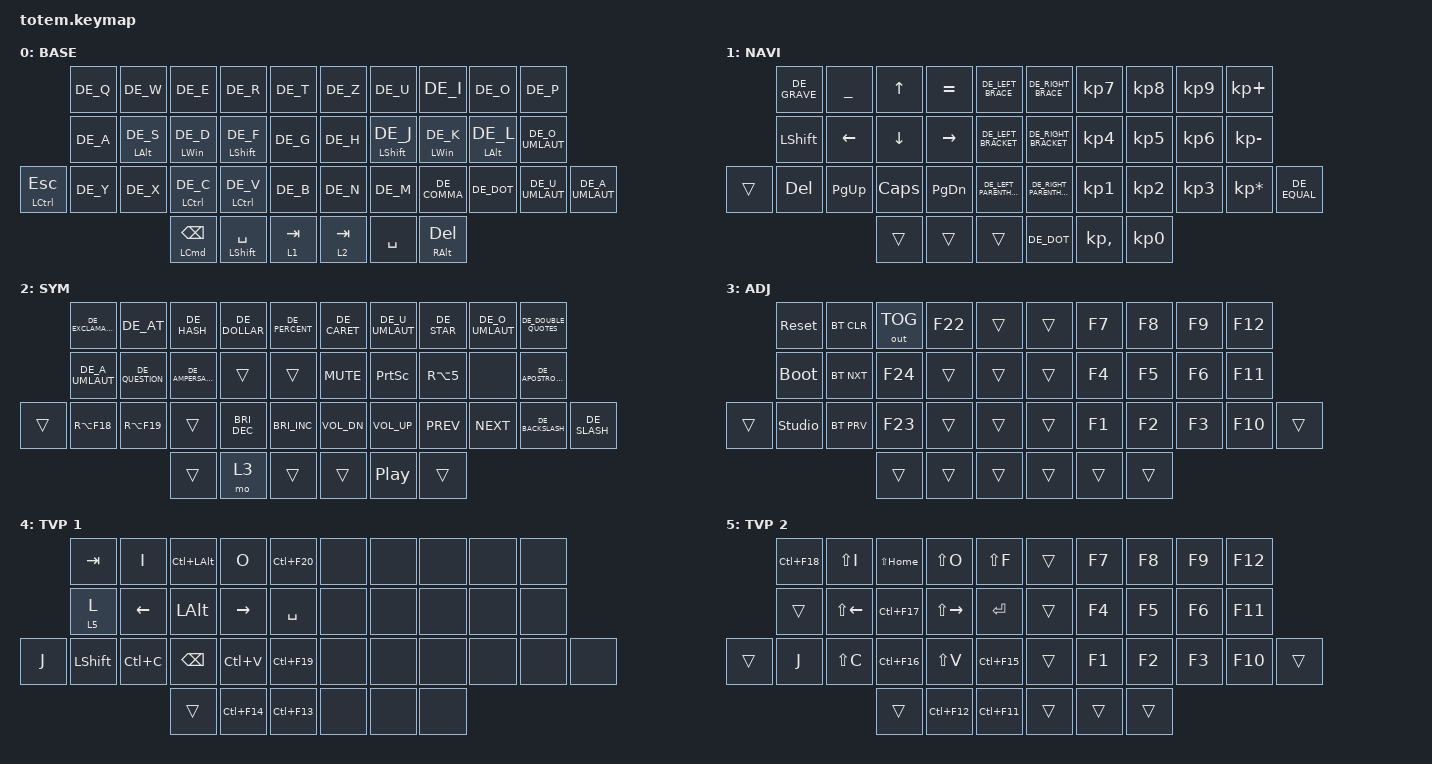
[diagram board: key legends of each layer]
//
//                                                        ▀▀▀▀▀     ▀▀▀▀▀          ▀▀█▀▀
//                                                        ▄▀▀▀▄  ▄  ▄▀▀▀▄  ▄  ▄▀▀▀▄  █  ▄▀▀▀▄
//                                                        █   █  █  █   █  █  █   █  █  █   █
//                                                         ▀▀▀   █   ▀▀▀   █   ▀▀▀   ▀   ▀▀▀
//                                                               █      ▄▄▄█▄▄▄    █   █  
//                                                               ▀      █  █  █     █▄█
//                                                             ▀▀▀▀▀    █  █  █      ▀
//                                                                      ▀  ▀  ▀
//
// ▄▄▄▄▄▄▄▄▄▄▄▄▄▄▄▄▄▄▄▄▄▄▄▄▄▄▄▄▄▄▄▄▄▄▄▄▄▄▄▄▄▄▄▄▄▄▄▄▄▄▄▄▄▄▄▄▄▄▄▄▄▄▄▄▄▄▄▄▄▄▄▄▄▄▄▄▄▄▄▄▄▄▄▄▄▄▄▄▄▄▄▄▄▄▄▄▄▄▄▄▄▄▄▄▄▄▄▄▄▄▄▄▄▄▄▄▄▄▄▄▄▄▄▄▄▄▄▄▄▄▄▄▄▄▄▄▄▄▄▄▄▄▄▄▄▄▄▄▄

#include "keys_de.h"
#include <behaviors.dtsi>
#include <dt-bindings/zmk/bt.h>
#include <dt-bindings/zmk/keys.h>
#include <dt-bindings/zmk/outputs.h>

#define BASE 0
#define NAV  1
#define SYM  2
#define ADJ  3
#define TVP1 4
#define TVP2 5

&mt {
    quick-tap-ms = <100>;
    global-quick-tap;
    flavor = "tap-preferred";
    tapping-term-ms = <170>;
};

/ {
    combos {
        compatible = "zmk,combos";

        combo_esc {
            timeout-ms = <50>;
            key-positions = <0 1>;
            bindings = <&kp ESC>;
        };

        combo_tvp {
            timeout-ms = <100>;
            key-positions = <11 12 13>;
            bindings = <&tog 4>;
        };

        Enter {
            bindings = <&kp ENTER>;
            key-positions = <16 17 18>;
        };

        TAB1 {
            bindings = <&kp TAB>;
            key-positions = <0 1>;
        };

        hyphen {
            bindings = <&kp MINUS>;
            key-positions = <30 31>;
        };

        tilde {
            bindings = <&kp TILDE>;
            key-positions = <20 0>;
        };
    };

    macros {
        gif: gif {
            label = "giphy";
            compatible = "zmk,behavior-macro";
            #binding-cells = <0>;
            bindings =
                <&macro_press>,
                <&kp LSHFT>,
                <&macro_tap>,
                <&kp N2>,
                <&macro_release>,
                <&kp LSHFT>,
                <&macro_tap>,
                <&kp G &kp I &kp F>;
        };
    };

    keymap {
        compatible = "zmk,keymap";

        // ▄▄▄▄▄▄▄▄▄▄▄▄▄▄▄▄▄▄▄▄▄▄▄▄▄▄▄▄▄▄▄▄▄▄▄▄▄▄▄▄▄▄▄▄▄▄▄▄▄▄▄▄▄▄▄▄▄▄▄▄▄▄▄▄▄▄▄▄▄▄▄▄▄▄▄▄▄▄▄▄▄▄▄▄▄▄▄▄▄▄▄▄▄▄▄▄▄▄▄▄▄▄▄▄▄▄▄▄▄▄▄▄▄▄▄▄▄▄▄▄▄▄▄▄▄▄▄▄▄▄▄▄▄▄▄▄▄▄▄▄▄▄▄▄▄▄▄▄▄

        base_layer {
            // ┏━━━━━━━━━━━━━━━━━━━━━━━━━━━━━━━━━━━━━━━┓

            label = "BASE";

            // ┗━━━━━━━━━━━━━━━━━━━━━━━━━━━━━━━━━━━━━━━┛
            //             ┏━━━━━━━━━━━┳━━━━━━━━━━━┳━━━━━━━━━━━┳━━━━━━━━━━━┳━━━━━━━━━━━┓   ┏━━━━━━━━━━━┳━━━━━━━━━━━┳━━━━━━━━━━━┳━━━━━━━━━━━┳━━━━━━━━━━━┓
            //             ┃     Q     ┃     W     ┃     F     ┃     P     ┃     G     ┃   ┃     J     ┃     L     ┃     U     ┃     Y     ┃     ;     ┃
            //             ┣━━━━━━━━━━━╋━━━━━━━━━━━╋━━━━━━━━━━━╋━━━━━━━━━━━╋━━━━━━━━━━━┫   ┣━━━━━━━━━━━╋━━━━━━━━━━━╋━━━━━━━━━━━╋━━━━━━━━━━━╋━━━━━━━━━━━┫
            //             ┃     A     ┃     R     ┃     S     ┃     T     ┃     D     ┃   ┃     H     ┃     N     ┃     E     ┃     I     ┃     O     ┃
            // ┏━━━━━━━━━━━╋━━━━━━━━━━━╋━━━━━━━━━━━╋━━━━━━━━━━━╋━━━━━━━━━━━╋━━━━━━━━━━━┫   ┣━━━━━━━━━━━╋━━━━━━━━━━━╋━━━━━━━━━━━╋━━━━━━━━━━━╋━━━━━━━━━━━╋━━━━━━━━━━━┓
            // ┃     Q     ┃     Z     ┃     X     ┃     C     ┃     V     ┃     B     ┃   ┃     K     ┃     M     ┃     ,     ┃     .     ┃     /     ┃     \     ┃
            // ┗━━━━━━━━━━━┻━━━━━━━━━━━┻━━━━━━━━━━━╋━━━━━━━━━━━╋━━━━━━━━━━━╋━━━━━━━━━━━┫   ┣━━━━━━━━━━━╋━━━━━━━━━━━╋━━━━━━━━━━━╋━━━━━━━━━━━┻━━━━━━━━━━━┻━━━━━━━━━━━┛
            //                                     ┃    DEL    ┃    TAB    ┃    SPC    ┃   ┃   ENTER   ┃           ┃   BSPC    ┃
            //                                     ┗━━━━━━━━━━━┻━━━━━━━━━━━┻━━━━━━━━━━━┛   ┗━━━━━━━━━━━┻━━━━━━━━━━━┻━━━━━━━━━━━┛

            bindings = <
                      &kp DE_Q  &kp DE_W       &kp DE_E                    &kp DE_R              &kp DE_T     &kp DE_Z   &kp DE_U        &kp DE_I              &kp DE_O       &kp DE_P
                      &kp DE_A  &mt LALT DE_S  &mt LWIN DE_D               &mt LSHFT DE_F        &kp DE_G     &kp DE_H   &mt LSHFT DE_J  &mt LWIN DE_K         &mt LALT DE_L  &kp DE_O_UMLAUT
&mt LEFT_CONTROL ESC  &kp DE_Y  &kp DE_X       &mt LCTRL DE_C              &mt LCTRL DE_V        &kp DE_B     &kp DE_N   &kp DE_M        &kp DE_COMMA          &kp DE_DOT     &kp DE_U_UMLAUT  &kp DE_A_UMLAUT
                                               &mt LEFT_COMMAND BACKSPACE  &mt LEFT_SHIFT SPACE  &lt 1 TAB    &lt 2 TAB  &kp SPACE       &mt RIGHT_ALT DELETE
            >;
        };

        // ▄▄▄▄▄▄▄▄▄▄▄▄▄▄▄▄▄▄▄▄▄▄▄▄▄▄▄▄▄▄▄▄▄▄▄▄▄▄▄▄▄▄▄▄▄▄▄▄▄▄▄▄▄▄▄▄▄▄▄▄▄▄▄▄▄▄▄▄▄▄▄▄▄▄▄▄▄▄▄▄▄▄▄▄▄▄▄▄▄▄▄▄▄▄▄▄▄▄▄▄▄▄▄▄▄▄▄▄▄▄▄▄▄▄▄▄▄▄▄▄▄▄▄▄▄▄▄▄▄▄▄▄▄▄▄▄▄▄▄▄▄▄▄▄▄▄▄▄▄

        nav_layer {
            // ┏━━━━━━━━━━━━━━━━━━━━━━━━━━━━━━━━━━━━━━━┓

            label = "NAVI";

            // ┗━━━━━━━━━━━━━━━━━━━━━━━━━━━━━━━━━━━━━━━┛
            //             ┏━━━━━━━━━━━┳━━━━━━━━━━━┳━━━━━━━━━━━┳━━━━━━━━━━━┳━━━━━━━━━━━┓   ┏━━━━━━━━━━━┳━━━━━━━━━━━┳━━━━━━━━━━━┳━━━━━━━━━━━┳━━━━━━━━━━━┓
            //             ┃           ┃           ┃     UP    ┃           ┃     {     ┃   ┃     }     ┃     7     ┃     8     ┃     9     ┃     +     ┃
            //             ┣━━━━━━━━━━━╋━━━━━━━━━━━╋━━━━━━━━━━━╋━━━━━━━━━━━╋━━━━━━━━━━━┫   ┣━━━━━━━━━━━╋━━━━━━━━━━━╋━━━━━━━━━━━╋━━━━━━━━━━━╋━━━━━━━━━━━┫
            //             ┃   SHIFT   ┃   LEFT    ┃    DOWN   ┃   RIGHT   ┃     [     ┃   ┃     ]     ┃     4     ┃     5     ┃     6     ┃     -     ┃
            // ┏━━━━━━━━━━━╋━━━━━━━━━━━╋━━━━━━━━━━━╋━━━━━━━━━━━╋━━━━━━━━━━━╋━━━━━━━━━━━┫   ┣━━━━━━━━━━━╋━━━━━━━━━━━╋━━━━━━━━━━━╋━━━━━━━━━━━╋━━━━━━━━━━━╋━━━━━━━━━━━┓
            // ┃           ┃           ┃   P UP    ┃  C LOCK   ┃  P DOWN   ┃     (     ┃   ┃     )     ┃     1     ┃     2     ┃     3     ┃     *     ┃           ┃
            // ┗━━━━━━━━━━━┻━━━━━━━━━━━┻━━━━━━━━━━━╋━━━━━━━━━━━╋━━━━━━━━━━━╋━━━━━━━━━━━┫   ┣━━━━━━━━━━━╋━━━━━━━━━━━╋━━━━━━━━━━━╋━━━━━━━━━━━┻━━━━━━━━━━━┻━━━━━━━━━━━┛
            //                                     ┃           ┃    TAB    ┃    SPC    ┃   ┃    DEL    ┃     0     ┃           ┃
            //                                     ┗━━━━━━━━━━━┻━━━━━━━━━━━┻━━━━━━━━━━━┛   ┗━━━━━━━━━━━┻━━━━━━━━━━━┻━━━━━━━━━━━┛

            bindings = <
        &kp DE_GRAVE  &kp UNDER  &kp UP    &kp EQUAL  &kp DE_LEFT_BRACE          &kp DE_RIGHT_BRACE        &kp KP_N7     &kp KP_N8        &kp KP_N9  &kp KP_PLUS
        &kp LSHFT     &kp LEFT   &kp DOWN  &kp RIGHT  &kp DE_LEFT_BRACKET        &kp DE_RIGHT_BRACKET      &kp KP_N4     &kp KP_N5        &kp KP_N6  &kp KP_MINUS
&trans  &kp DEL       &kp PG_UP  &kp CAPS  &kp PG_DN  &kp DE_LEFT_PARENTHESIS    &kp DE_RIGHT_PARENTHESIS  &kp KP_N1     &kp KP_N2        &kp KP_N3  &kp KP_MULTIPLY  &kp DE_EQUAL
                                 &trans    &trans     &trans                     &kp DE_DOT                &kp KP_COMMA  &kp KP_NUMBER_0
            >;
        };

        // ▄▄▄▄▄▄▄▄▄▄▄▄▄▄▄▄▄▄▄▄▄▄▄▄▄▄▄▄▄▄▄▄▄▄▄▄▄▄▄▄▄▄▄▄▄▄▄▄▄▄▄▄▄▄▄▄▄▄▄▄▄▄▄▄▄▄▄▄▄▄▄▄▄▄▄▄▄▄▄▄▄▄▄▄▄▄▄▄▄▄▄▄▄▄▄▄▄▄▄▄▄▄▄▄▄▄▄▄▄▄▄▄▄▄▄▄▄▄▄▄▄▄▄▄▄▄▄▄▄▄▄▄▄▄▄▄▄▄▄▄▄▄▄▄▄▄▄▄▄

        sim_layer {
            // ┏━━━━━━━━━━━━━━━━━━━━━━━━━━━━━━━━━━━━━━━┓

            label = "SYM";

            // ┗━━━━━━━━━━━━━━━━━━━━━━━━━━━━━━━━━━━━━━━┛
            //             ┏━━━━━━━━━━━┳━━━━━━━━━━━┳━━━━━━━━━━━┳━━━━━━━━━━━┳━━━━━━━━━━━┓   ┏━━━━━━━━━━━┳━━━━━━━━━━━┳━━━━━━━━━━━┳━━━━━━━━━━━┳━━━━━━━━━━━┓
            //             ┃     !     ┃     @     ┃     #     ┃     $     ┃     %     ┃   ┃     ˆ     ┃     &     ┃     Ü     ┃     '     ┃     "     ┃
            //             ┣━━━━━━━━━━━╋━━━━━━━━━━━╋━━━━━━━━━━━╋━━━━━━━━━━━╋━━━━━━━━━━━┫   ┣━━━━━━━━━━━╋━━━━━━━━━━━╋━━━━━━━━━━━╋━━━━━━━━━━━╋━━━━━━━━━━━┫
            //             ┃     Ä     ┃           ┃    SZ     ┃           ┃           ┃   ┃   MUTE    ┃   YEN     ┃   EURO    ┃  POUND    ┃     Ö     ┃
            // ┏━━━━━━━━━━━╋━━━━━━━━━━━╋━━━━━━━━━━━╋━━━━━━━━━━━╋━━━━━━━━━━━╋━━━━━━━━━━━┫   ┣━━━━━━━━━━━╋━━━━━━━━━━━╋━━━━━━━━━━━╋━━━━━━━━━━━╋━━━━━━━━━━━╋━━━━━━━━━━━┓
            // ┃           ┃  EMAIL1   ┃  EMAIL2   ┃           ┃           ┃           ┃   ┃   VOL-    ┃   VOL+    ┃   LAST    ┃   NEXT    ┃     \     ┃           ┃
            // ┗━━━━━━━━━━━┻━━━━━━━━━━━┻━━━━━━━━━━━╋━━━━━━━━━━━╋━━━━━━━━━━━╋━━━━━━━━━━━┫   ┣━━━━━━━━━━━╋━━━━━━━━━━━╋━━━━━━━━━━━╋━━━━━━━━━━━┻━━━━━━━━━━━┻━━━━━━━━━━━┛
            //                                     ┃           ┃    GIF    ┃    ADJ    ┃   ┃           ┃           ┃           ┃
            //                                     ┗━━━━━━━━━━━┻━━━━━━━━━━━┻━━━━━━━━━━━┛   ┗━━━━━━━━━━━┻━━━━━━━━━━━┻━━━━━━━━━━━┛

            bindings = <
        &kp DE_EXCLAMATION  &kp DE_AT        &kp DE_HASH       &kp DE_DOLLAR  &kp DE_PERCENT          &kp DE_CARET  &kp DE_U_UMLAUT  &kp DE_STAR  &kp DE_O_UMLAUT  &kp DE_DOUBLE_QUOTES
        &kp DE_A_UMLAUT     &kp DE_QUESTION  &kp DE_AMPERSAND  &trans         &trans                  &kp C_MUTE    &kp PRINTSCREEN  &kp RA(N5)   &none            &kp DE_APOSTROPHE
&trans  &kp RA(F18)         &kp RA(F19)      &trans            &kp C_BRI_DEC  &kp C_BRIGHTNESS_INC    &kp C_VOL_DN  &kp C_VOL_UP     &kp C_PREV   &kp C_NEXT       &kp DE_BACKSLASH      &kp DE_SLASH
                                             &trans            &mo 3          &trans                  &trans        &kp C_PP         &trans
            >;
        };

        // ▄▄▄▄▄▄▄▄▄▄▄▄▄▄▄▄▄▄▄▄▄▄▄▄▄▄▄▄▄▄▄▄▄▄▄▄▄▄▄▄▄▄▄▄▄▄▄▄▄▄▄▄▄▄▄▄▄▄▄▄▄▄▄▄▄▄▄▄▄▄▄▄▄▄▄▄▄▄▄▄▄▄▄▄▄▄▄▄▄▄▄▄▄▄▄▄▄▄▄▄▄▄▄▄▄▄▄▄▄▄▄▄▄▄▄▄▄▄▄▄▄▄▄▄▄▄▄▄▄▄▄▄▄▄▄▄▄▄▄▄▄▄▄▄▄▄▄▄▄

        adjust_layer {
            // ┏━━━━━━━━━━━━━━━━━━━━━━━━━━━━━━━━━━━━━━━┓

            label = "ADJ";

            // ┗━━━━━━━━━━━━━━━━━━━━━━━━━━━━━━━━━━━━━━━┛
            //             ┏━━━━━━━━━━━┳━━━━━━━━━━━┳━━━━━━━━━━━┳━━━━━━━━━━━┳━━━━━━━━━━━┓   ┏━━━━━━━━━━━┳━━━━━━━━━━━┳━━━━━━━━━━━┳━━━━━━━━━━━┳━━━━━━━━━━━┓
            //             ┃   RESET   ┃ BT CLEAR  ┃  OUT TOG  ┃           ┃           ┃   ┃           ┃    F7     ┃    F8     ┃    F9     ┃    F12    ┃
            //             ┣━━━━━━━━━━━╋━━━━━━━━━━━╋━━━━━━━━━━━╋━━━━━━━━━━━╋━━━━━━━━━━━┫   ┣━━━━━━━━━━━╋━━━━━━━━━━━╋━━━━━━━━━━━╋━━━━━━━━━━━╋━━━━━━━━━━━┫
            //             ┃ BOOTLOAD  ┃ BT NEXT   ┃           ┃           ┃           ┃   ┃           ┃    F4     ┃    F5     ┃    F6     ┃    F11    ┃
            // ┏━━━━━━━━━━━╋━━━━━━━━━━━╋━━━━━━━━━━━╋━━━━━━━━━━━╋━━━━━━━━━━━╋━━━━━━━━━━━┫   ┣━━━━━━━━━━━╋━━━━━━━━━━━╋━━━━━━━━━━━╋━━━━━━━━━━━╋━━━━━━━━━━━╋━━━━━━━━━━━┓
            // ┃           ┃ STUDIO    ┃ BT PREV   ┃           ┃           ┃           ┃   ┃           ┃    F1     ┃    F2     ┃    F3     ┃    F10    ┃           ┃
            // ┗━━━━━━━━━━━┻━━━━━━━━━━━┻━━━━━━━━━━━╋━━━━━━━━━━━╋━━━━━━━━━━━╋━━━━━━━━━━━┫   ┣━━━━━━━━━━━╋━━━━━━━━━━━╋━━━━━━━━━━━╋━━━━━━━━━━━┻━━━━━━━━━━━┻━━━━━━━━━━━┛
            //                                     ┃           ┃           ┃           ┃   ┃           ┃           ┃           ┃
            //                                     ┗━━━━━━━━━━━┻━━━━━━━━━━━┻━━━━━━━━━━━┛   ┗━━━━━━━━━━━┻━━━━━━━━━━━┻━━━━━━━━━━━┛

            bindings = <
        &sys_reset      &bt BT_CLR  &out OUT_TOG  &kp F22  &trans    &trans  &kp F7  &kp F8  &kp F9  &kp F12
        &bootloader     &bt BT_NXT  &kp F24       &trans   &trans    &trans  &kp F4  &kp F5  &kp F6  &kp F11
&trans  &studio_unlock  &bt BT_PRV  &kp F23       &trans   &trans    &trans  &kp F1  &kp F2  &kp F3  &kp F10  &trans
                                    &trans        &trans   &trans    &trans  &trans  &trans
            >;
        };

        // ▄▄▄▄▄▄▄▄▄▄▄▄▄▄▄▄▄▄▄▄▄▄▄▄▄▄▄▄▄▄▄▄▄▄▄▄▄▄▄▄▄▄▄▄▄▄▄▄▄▄▄▄▄▄▄▄▄▄▄▄▄▄▄▄▄▄▄▄▄▄▄▄▄▄▄▄▄▄▄▄▄▄▄▄▄▄▄▄▄▄▄▄▄▄▄▄▄▄▄▄▄▄▄▄▄▄▄▄▄▄▄▄▄▄▄▄▄▄▄▄▄▄▄▄▄▄▄▄▄▄▄▄▄▄▄▄▄▄▄▄▄▄▄▄▄▄▄▄▄

        tvp1_layer {
            // ┏━━━━━━━━━━━━━━━━━━━━━━━━━━━━━━━━━━━━━━━┓

            label = "TVP 1";

            // ┗━━━━━━━━━━━━━━━━━━━━━━━━━━━━━━━━━━━━━━━┛
            //             ┏━━━━━━━━━━━┳━━━━━━━━━━━┳━━━━━━━━━━━┳━━━━━━━━━━━┳━━━━━━━━━━━┓   ┏━━━━━━━━━━━┳━━━━━━━━━━━┳━━━━━━━━━━━┳━━━━━━━━━━━┳━━━━━━━━━━━┓
            //             ┃ NEXT FILE ┃ MARK IN   ┃ ROTATE    ┃ MARK OUT  ┃ SHOW SNAP ┃   ┃           ┃           ┃           ┃           ┃           ┃
            //             ┣━━━━━━━━━━━╋━━━━━━━━━━━╋━━━━━━━━━━━╋━━━━━━━━━━━╋━━━━━━━━━━━┫   ┣━━━━━━━━━━━╋━━━━━━━━━━━╋━━━━━━━━━━━╋━━━━━━━━━━━╋━━━━━━━━━━━┫
            //             ┃ TVP II    ┃ LEFT      ┃ PAN       ┃ RIGHT     ┃ PLAY/FLIP ┃   ┃           ┃           ┃           ┃           ┃           ┃
            // ┏━━━━━━━━━━━╋━━━━━━━━━━━╋━━━━━━━━━━━╋━━━━━━━━━━━╋━━━━━━━━━━━╋━━━━━━━━━━━┫   ┣━━━━━━━━━━━╋━━━━━━━━━━━╋━━━━━━━━━━━╋━━━━━━━━━━━╋━━━━━━━━━━━╋━━━━━━━━━━━┓
            // ┃ FULLSCR   ┃ SHIFT     ┃ COPY      ┃ DELETE    ┃ PASTE     ┃ IMG MARK  ┃   ┃           ┃           ┃           ┃           ┃           ┃           ┃
            // ┗━━━━━━━━━━━┻━━━━━━━━━━━┻━━━━━━━━━━━╋━━━━━━━━━━━╋━━━━━━━━━━━╋━━━━━━━━━━━┫   ┣━━━━━━━━━━━╋━━━━━━━━━━━╋━━━━━━━━━━━╋━━━━━━━━━━━┻━━━━━━━━━━━┻━━━━━━━━━━━┛
            //                                     ┃           ┃ UNDO/SAVE ┃  SEL/MOV  ┃   ┃           ┃           ┃           ┃
            //                                     ┗━━━━━━━━━━━┻━━━━━━━━━━━┻━━━━━━━━━━━┛   ┗━━━━━━━━━━━┻━━━━━━━━━━━┻━━━━━━━━━━━┛

            bindings = <
       &kp TAB    &kp I      &kp LC(LALT)  &kp O        &kp LC(F20)    &none  &none  &none  &none  &none
       &lt 5 L    &kp LEFT   &kp LALT      &kp RIGHT    &kp SPACE      &none  &none  &none  &none  &none
&kp J  &kp LSHFT  &kp LC(C)  &kp BSPC      &kp LC(V)    &kp LC(F19)    &none  &none  &none  &none  &none  &none
                             &trans        &kp LC(F14)  &kp LC(F13)    &none  &none  &none
            >;
        };

        // ▄▄▄▄▄▄▄▄▄▄▄▄▄▄▄▄▄▄▄▄▄▄▄▄▄▄▄▄▄▄▄▄▄▄▄▄▄▄▄▄▄▄▄▄▄▄▄▄▄▄▄▄▄▄▄▄▄▄▄▄▄▄▄▄▄▄▄▄▄▄▄▄▄▄▄▄▄▄▄▄▄▄▄▄▄▄▄▄▄▄▄▄▄▄▄▄▄▄▄▄▄▄▄▄▄▄▄▄▄▄▄▄▄▄▄▄▄▄▄▄▄▄▄▄▄▄▄▄▄▄▄▄▄▄▄▄▄▄▄▄▄▄▄▄▄▄▄▄▄

        tvp2_layer {
            // ┏━━━━━━━━━━━━━━━━━━━━━━━━━━━━━━━━━━━━━━━┓

            label = "TVP 2";

            // ┗━━━━━━━━━━━━━━━━━━━━━━━━━━━━━━━━━━━━━━━┛
            //             ┏━━━━━━━━━━━┳━━━━━━━━━━━┳━━━━━━━━━━━┳━━━━━━━━━━━┳━━━━━━━━━━━┓   ┏━━━━━━━━━━━┳━━━━━━━━━━━┳━━━━━━━━━━━┳━━━━━━━━━━━┳━━━━━━━━━━━┓
            //             ┃ SOLO      ┃ TOGGLE IN ┃ RESET ROT ┃ TOGGLE OUT┃ TAKE SNAP ┃   ┃           ┃           ┃           ┃           ┃           ┃
            //             ┣━━━━━━━━━━━╋━━━━━━━━━━━╋━━━━━━━━━━━╋━━━━━━━━━━━╋━━━━━━━━━━━┫   ┣━━━━━━━━━━━╋━━━━━━━━━━━╋━━━━━━━━━━━╋━━━━━━━━━━━╋━━━━━━━━━━━┫
            //             ┃ ---       ┃ LAST KEY  ┃ NEW KEY   ┃ NEXT KEY  ┃ ENTER     ┃   ┃           ┃           ┃           ┃           ┃           ┃
            // ┏━━━━━━━━━━━╋━━━━━━━━━━━╋━━━━━━━━━━━╋━━━━━━━━━━━╋━━━━━━━━━━━╋━━━━━━━━━━━┫   ┣━━━━━━━━━━━╋━━━━━━━━━━━╋━━━━━━━━━━━╋━━━━━━━━━━━╋━━━━━━━━━━━╋━━━━━━━━━━━┓
            // ┃           ┃ FULLSCR   ┃ CPY2BRUSH ┃ DEL HEAD  ┃ PSTinPLACE┃ BOOK MARK ┃   ┃           ┃           ┃           ┃           ┃           ┃           ┃
            // ┗━━━━━━━━━━━┻━━━━━━━━━━━┻━━━━━━━━━━━╋━━━━━━━━━━━╋━━━━━━━━━━━╋━━━━━━━━━━━┫   ┣━━━━━━━━━━━╋━━━━━━━━━━━╋━━━━━━━━━━━╋━━━━━━━━━━━┻━━━━━━━━━━━┻━━━━━━━━━━━┛
            //                                     ┃           ┃ REDO/SAV1 ┃TRANS/WARP ┃   ┃           ┃           ┃           ┃
            //                                     ┗━━━━━━━━━━━┻━━━━━━━━━━━┻━━━━━━━━━━━┛   ┗━━━━━━━━━━━┻━━━━━━━━━━━┻━━━━━━━━━━━┛

            bindings = <
        &kp LC(F18)  &kp LS(I)     &kp LS(HOME)  &kp LS(O)      &kp LS(F)      &trans  &kp F7  &kp F8  &kp F9  &kp F12
        &trans       &kp LS(LEFT)  &kp LC(F17)   &kp LS(RIGHT)  &kp RET        &trans  &kp F4  &kp F5  &kp F6  &kp F11
&trans  &kp J        &kp LS(C)     &kp LC(F16)   &kp LS(V)      &kp LC(F15)    &trans  &kp F1  &kp F2  &kp F3  &kp F10  &trans
                                   &trans        &kp LC(F12)    &kp LC(F11)    &trans  &trans  &trans
            >;
        };
    };
};
